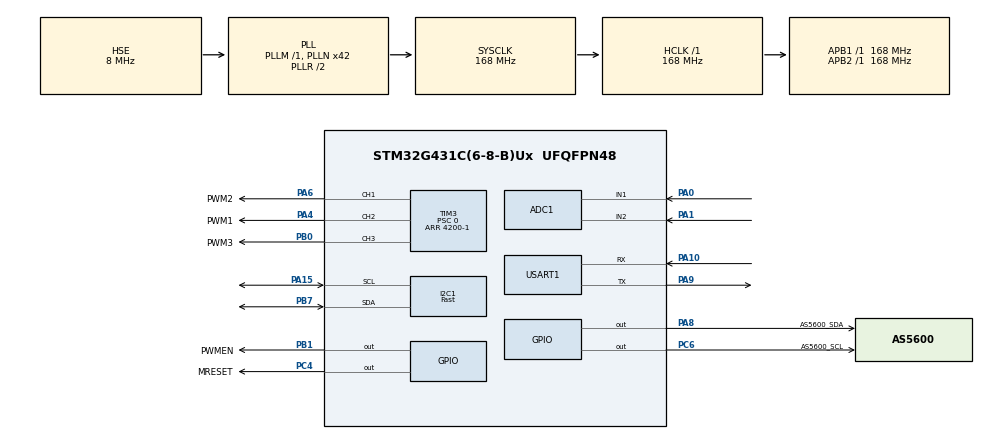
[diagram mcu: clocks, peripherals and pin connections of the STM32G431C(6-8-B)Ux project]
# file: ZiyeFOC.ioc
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ADC1.DMAContinuousRequests=DISABLE
ADC1.EnableInjectedConversion=ENABLE
ADC1.EnableRegularConversion=DISABLE
ADC1.ExternalTrigInjecConv=ADC_EXTERNALTRIGINJEC_T3_TRGO
ADC1.InjNumberOfConversion=2
ADC1.InjectedChannel-2\#ChannelInjectedConversion=ADC_CHANNEL_1
ADC1.InjectedChannel-3\#ChannelInjectedConversion=ADC_CHANNEL_2
ADC1.InjectedOffsetNumber-2\#ChannelInjectedConversion=ADC_OFFSET_NONE
ADC1.InjectedOffsetNumber-3\#ChannelInjectedConversion=ADC_OFFSET_NONE
ADC1.InjectedRank-2\#ChannelInjectedConversion=1
ADC1.InjectedRank-3\#ChannelInjectedConversion=2
ADC1.InjectedSamplingTime-2\#ChannelInjectedConversion=ADC_SAMPLETIME_2CYCLES_5
ADC1.InjectedSamplingTime-3\#ChannelInjectedConversion=ADC_SAMPLETIME_2CYCLES_5
ADC1.Rank1_Channel=ADC_CHANNEL_1
ADC1.Rank2_Channel=ADC_CHANNEL_2
ADC1.master=1
Dma.I2C1_RX.0.Direction=DMA_PERIPH_TO_MEMORY
Dma.I2C1_RX.0.EventEnable=DISABLE
Dma.I2C1_RX.0.Instance=DMA1_Channel1
Dma.I2C1_RX.0.MemDataAlignment=DMA_MDATAALIGN_BYTE
Dma.I2C1_RX.0.MemInc=DMA_MINC_ENABLE
Dma.I2C1_RX.0.Mode=DMA_NORMAL
Dma.I2C1_RX.0.PeriphDataAlignment=DMA_PDATAALIGN_BYTE
Dma.I2C1_RX.0.PeriphInc=DMA_PINC_DISABLE
Dma.I2C1_RX.0.Polarity=HAL_DMAMUX_REQ_GEN_RISING
Dma.I2C1_RX.0.Priority=DMA_PRIORITY_LOW
Dma.I2C1_RX.0.RequestNumber=1
Dma.I2C1_RX.0.SignalID=NONE
Dma.I2C1_RX.0.SyncEnable=DISABLE
Dma.I2C1_RX.0.SyncPolarity=HAL_DMAMUX_SYNC_NO_EVENT
Dma.I2C1_RX.0.SyncRequestNumber=1
Dma.I2C1_RX.0.SyncSignalID=NONE
Dma.Request0=I2C1_RX
Dma.Request1=USART1_RX
Dma.Request2=USART1_TX
Dma.USART1_RX.1.Direction=DMA_PERIPH_TO_MEMORY
Dma.USART1_RX.1.EventEnable=DISABLE
Dma.USART1_RX.1.Instance=DMA1_Channel2
Dma.USART1_RX.1.MemDataAlignment=DMA_MDATAALIGN_BYTE
Dma.USART1_RX.1.MemInc=DMA_MINC_ENABLE
Dma.USART1_RX.1.Mode=DMA_NORMAL
Dma.USART1_RX.1.PeriphDataAlignment=DMA_PDATAALIGN_BYTE
Dma.USART1_RX.1.PeriphInc=DMA_PINC_DISABLE
Dma.USART1_RX.1.Polarity=HAL_DMAMUX_REQ_GEN_RISING
Dma.USART1_RX.1.Priority=DMA_PRIORITY_LOW
Dma.USART1_RX.1.RequestNumber=1
Dma.USART1_RX.1.SignalID=NONE
Dma.USART1_RX.1.SyncEnable=DISABLE
Dma.USART1_RX.1.SyncPolarity=HAL_DMAMUX_SYNC_NO_EVENT
Dma.USART1_RX.1.SyncRequestNumber=1
Dma.USART1_RX.1.SyncSignalID=NONE
Dma.USART1_TX.2.Direction=DMA_MEMORY_TO_PERIPH
Dma.USART1_TX.2.EventEnable=DISABLE
Dma.USART1_TX.2.Instance=DMA1_Channel3
Dma.USART1_TX.2.MemDataAlignment=DMA_MDATAALIGN_BYTE
Dma.USART1_TX.2.MemInc=DMA_MINC_ENABLE
Dma.USART1_TX.2.Mode=DMA_NORMAL
Dma.USART1_TX.2.PeriphDataAlignment=DMA_PDATAALIGN_BYTE
Dma.USART1_TX.2.PeriphInc=DMA_PINC_DISABLE
Dma.USART1_TX.2.Polarity=HAL_DMAMUX_REQ_GEN_RISING
Dma.USART1_TX.2.Priority=DMA_PRIORITY_LOW
Dma.USART1_TX.2.RequestNumber=1
Dma.USART1_TX.2.SignalID=NONE
Dma.USART1_TX.2.SyncEnable=DISABLE
Dma.USART1_TX.2.SyncPolarity=HAL_DMAMUX_SYNC_NO_EVENT
Dma.USART1_TX.2.SyncRequestNumber=1
Dma.USART1_TX.2.SyncSignalID=NONE
I2C1.I2C_Speed_Mode=I2C_Fast
I2C1.Timing=0x20B21E5A
Mcu.Family=STM32G4
Mcu.Name=STM32G431C(6-8-B)Ux
Mcu.Package=UFQFPN48
NVIC.ADC1_2_IRQn=true\:0\:0\:false\:false\:true\:true\:true\:true
NVIC.DMA1_Channel2_IRQn=true\:3\:0\:true\:false\:true\:true\:true\:true
NVIC.DMA1_Channel3_IRQn=true\:3\:0\:true\:false\:true\:true\:true\:true
NVIC.PriorityGroup=NVIC_PRIORITYGROUP_4
NVIC.TIM2_IRQn=true\:3\:0\:true\:false\:true\:true\:true\:true
NVIC.TIM4_IRQn=true\:1\:0\:true\:false\:true\:true\:true\:true
NVIC.USART1_IRQn=true\:3\:0\:true\:false\:true\:true\:true\:true
PA0.Mode=IN1-Single-Ended
PA0.Signal=ADC1_IN1
PA1.Mode=IN2-Single-Ended
PA1.Signal=ADC1_IN2
PA10.Mode=Asynchronous
PA10.Signal=USART1_RX
PA13.Mode=Serial_Wire
PA13.Signal=SYS_JTMS-SWDIO
PA14.Mode=Serial_Wire
PA14.Signal=SYS_JTCK-SWCLK
PA15.GPIO_Pu=GPIO_PULLUP
PA15.GPIO_Speed=GPIO_SPEED_FREQ_VERY_HIGH
PA15.Mode=I2C
PA15.Signal=I2C1_SCL
PA4.GPIO_Label=PWM1
PA4.GPIO_Speed=GPIO_SPEED_FREQ_VERY_HIGH
PA4.Signal=S_TIM3_CH2
PA6.GPIO_Label=PWM2
PA6.GPIO_Speed=GPIO_SPEED_FREQ_VERY_HIGH
PA6.Signal=S_TIM3_CH1
PA8.GPIO_Label=AS5600_SDA
PA8.GPIO_ModeDefaultOutputPP=GPIO_MODE_OUTPUT_OD
PA8.GPIO_PuPd=GPIO_PULLUP
PA8.GPIO_Speed=GPIO_SPEED_FREQ_HIGH
PA8.PinState=GPIO_PIN_SET
PA8.Signal=GPIO_Output
PA9.Mode=Asynchronous
PA9.Signal=USART1_TX
PB0.GPIO_Label=PWM3
PB0.GPIO_Speed=GPIO_SPEED_FREQ_VERY_HIGH
PB0.Signal=S_TIM3_CH3
PB1.GPIO_Label=PWMEN
PB1.GPIO_Speed=GPIO_SPEED_FREQ_HIGH
PB1.PinState=GPIO_PIN_RESET
PB1.Signal=GPIO_Output
PB7.GPIO_Pu=GPIO_PULLUP
PB7.GPIO_Speed=GPIO_SPEED_FREQ_VERY_HIGH
PB7.Mode=I2C
PB7.Signal=I2C1_SDA
PC4.GPIO_Label=MRESET
PC4.GPIO_Speed=GPIO_SPEED_FREQ_HIGH
PC4.Signal=GPIO_Output
PC6.GPIO_Label=AS5600_SCL
PC6.GPIO_ModeDefaultOutputPP=GPIO_MODE_OUTPUT_OD
PC6.GPIO_PuPd=GPIO_PULLUP
PC6.GPIO_Speed=GPIO_SPEED_FREQ_HIGH
PC6.PinState=GPIO_PIN_SET
PC6.Signal=GPIO_Output
PF0-OSC_IN.Mode=HSE-External-Oscillator
PF0-OSC_IN.Signal=RCC_OSC_IN
PF1-OSC_OUT.Mode=HSE-External-Oscillator
PF1-OSC_OUT.Signal=RCC_OSC_OUT
ProjectManager.HeapSize=0x200
ProjectManager.StackSize=0x400
ProjectManager.TargetToolchain=CMake
RCC.ADC12Freq_Value=168000000
RCC.AHBFreq_Value=168000000
RCC.APB1Freq_Value=168000000
RCC.APB1TimFreq_Value=168000000
RCC.APB2Freq_Value=168000000
RCC.APB2TimFreq_Value=168000000
RCC.CortexFreq_Value=168000000
RCC.EXTERNAL_CLOCK_VALUE=12288000
RCC.HCLKFreq_Value=168000000
RCC.HSE_VALUE=8000000
RCC.HSI48_VALUE=48000000
RCC.HSI_VALUE=16000000
RCC.LSE_VALUE=32768
RCC.PLLN=42
RCC.PLLSourceVirtual=RCC_PLLSOURCE_HSE
RCC.SYSCLKFreq_VALUE=168000000
RCC.SYSCLKSource=RCC_SYSCLKSOURCE_PLLCLK
RCC.USBFreq_Value=168000000
RCC.VCOOutputFreq_Value=336000000
SH.S_TIM3_CH1.0=TIM3_CH1,PWM Generation1 CH1
SH.S_TIM3_CH2.0=TIM3_CH2,PWM Generation2 CH2
SH.S_TIM3_CH3.0=TIM3_CH3,PWM Generation3 CH3
STMicroelectronics.X-CUBE-ALGOBUILD.1.4.0.LibraryCcDSPOoLibraryJjDSPOoLibrary=true
TIM2.AutoReloadPreload=TIM_AUTORELOAD_PRELOAD_ENABLE
TIM2.PeriodNoDither=10000-1
TIM2.Prescaler=168-1
TIM2.TIM_MasterOutputTrigger=TIM_TRGO_UPDATE
TIM3.AutoReloadPreload=TIM_AUTORELOAD_PRELOAD_ENABLE
TIM3.Channel-PWM\ Generation1\ CH1=TIM_CHANNEL_1
TIM3.Channel-PWM\ Generation2\ CH2=TIM_CHANNEL_2
TIM3.Channel-PWM\ Generation3\ CH3=TIM_CHANNEL_3
TIM3.Channel-PWM\ Generation4\ No\ Output=TIM_CHANNEL_4
TIM3.CounterMode=TIM_COUNTERMODE_CENTERALIGNED1
TIM3.OCPolarity_1=TIM_OCPOLARITY_HIGH
TIM3.OCPolarity_2=TIM_OCPOLARITY_HIGH
TIM3.OCPolarity_3=TIM_OCPOLARITY_HIGH
TIM3.OCPolarity_4=TIM_OCPOLARITY_LOW
TIM3.PeriodNoDither=4200-1
TIM3.Prescaler=0
TIM3.PulseNoDither_4=4200-2
TIM3.TIM_MasterOutputTrigger=TIM_TRGO_OC4REF
TIM4.AutoReloadPreload=TIM_AUTORELOAD_PRELOAD_ENABLE
TIM4.PeriodNoDither=500-1
TIM4.Prescaler=168-1
TIM6.AutoReloadPreload=TIM_AUTORELOAD_PRELOAD_ENABLE
TIM6.Prescaler=168-1
USART1.VirtualMode-Asynchronous=VM_ASYNC
VP_STMicroelectronics.X-CUBE-ALGOBUILD_VS_DSPOoLibraryJjLibrary_1.4.0_1.4.0.Mode=DSPOoLibraryJjLibrary
VP_SYS_VS_DBSignals.Mode=DisableDeadBatterySignals
VP_TIM2_VS_ClockSourceINT.Mode=Internal
VP_TIM3_VS_ClockSourceINT.Mode=Internal
VP_TIM3_VS_no_output4.Mode=PWM Generation4 No Output
VP_TIM4_VS_ClockSourceINT.Mode=Internal
VP_TIM6_VS_ClockSourceINT.Mode=Enable_Timer
board=custom

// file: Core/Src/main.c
/* USER CODE BEGIN Header */
/**
  ******************************************************************************
  * @file           : main.c
  * @brief          : Main program body
  ******************************************************************************
  * @attention
  *
  * Copyright (c) 2026 STMicroelectronics.
  * All rights reserved.
  *
  * This software is licensed under terms that can be found in the LICENSE file
  * in the root directory of this software component.
  * If no LICENSE file comes with this software, it is provided AS-IS.
  *
  ******************************************************************************
  */
/* USER CODE END Header */
#include "main.h"
#include "adc.h"
#include "dma.h"
#include "i2c.h"
#include "tim.h"
#include "usart.h"
#include "gpio.h"

/* USER CODE BEGIN Includes */

// #include <stdio.h>
#include "MyUART.h"
#include "AS5600.h"
#include "arm_math.h"
#include "FOC.h"
#include <stdint.h>
#include <stdlib.h>

/* USER CODE END Includes */

/* USER CODE BEGIN PD */

// #define FC_HZ      6000.0f
// #define TS_SEC     0.00005f   // 50us
// #define ALPHA      0.653f      // (2.0f * 3.1415926f * FC_HZ * TS_SEC / (1.0f + 2.0f * 3.1415926f * FC_HZ * TS_SEC))
// ALPHA ≈ 0.653

/* USER CODE END PD */

/* USER CODE BEGIN PV */

// float a = 3.14f;

float Uq = 2, Ud = 0;
float U[3] = {0,0,0};   //三相电压值存储

uint16_t ccr[3] = {0,0,0};
// float Angle = 0;

int16_t iabc_raw[3] = {0,0,0};

float ialpha_beta[2] = {0,0};

float idq[2] = {0,0};

float idq_ref[2] = {0.0f,0.0f};

// --标志位--

uint8_t i_curb_flag = 0;    //电流环控制标志位

// 初始化所需值

uint32_t ia_zero = 0;
uint32_t ib_zero = 0;
uint8_t i_count = 0;

// -- 滤波器 --

// int16_t iabc_filt[3] = {0.0f, 0.0f, 0.0f};

// uint8_t filt_init = 0;

// ----- 速度环 -----

#define SPEED_SAMPLE_HZ  2000.0f       // 速度环频率
#define SPEED_DT         (1.0f / SPEED_SAMPLE_HZ)   //时间常数
#define SPEED_LPF_ALPHA  0.2f          // 低通滤波系数，越小越平滑

uint16_t prev_angle = 0;

uint8_t  first_sample = 1;

float speed_filt = 0.0f;

float Motor_speed = 0.0f;   //rad/s

float Motor_speed_ref = 30.0f; //rad/s

// ----- 性能分析 -----

//可用时间
uint16_t ref_now = 0;
uint16_t ref_last = 0;
uint16_t ref_Time = 0;

//总时间
uint16_t all_now = 0;
uint16_t all_Time = 0;

//角度预测时间
uint16_t angle_now = 0;
uint16_t angle_Time = 0;

//SVPWM/SPWM时间
uint16_t SVPWM_now = 0;
uint16_t SVPWM_Time = 0;

//角度获取时间
int32_t get_angle_Time = 0;

//角度读取

uint16_t Motor_raw_angle = 0;

int32_t Motor_angle_Time = 0;//角度获取时TIM6计数值

//串口调试数据接收

// uint8_t UART_Rx_buffer[10];

#define RX_BUF_SIZE  256
uint8_t  rx_buffer[RX_BUF_SIZE];
volatile uint16_t rx_len = 0;
volatile uint8_t  rx_flag = 0;

/* USER CODE END PV */

void SystemClock_Config(void);

/* USER CODE BEGIN 0 */

void HAL_ADCEx_InjectedConvCpltCallback(ADC_HandleTypeDef* hadc) {
    if (hadc->Instance == ADC1) {

        // 电流环时间
        all_now = __HAL_TIM_GET_COUNTER(&htim6);

        ref_now = __HAL_TIM_GET_COUNTER(&htim6);
        ref_Time = ref_now - ref_last;  //可用时间
        ref_last = ref_now;

        if (i_curb_flag == 1) //电流偏置量获取
        {
            ia_zero += HAL_ADCEx_InjectedGetValue(hadc, ADC_INJECTED_RANK_1);
            ib_zero += HAL_ADCEx_InjectedGetValue(hadc, ADC_INJECTED_RANK_2);
            i_count ++;
            if (i_count >= 100)
            {
                ia_zero /= 100;
                ib_zero /= 100;
                i_curb_flag = 2;
            }
        }

        if (i_curb_flag == 2)   // 电流环控制 20kHz
        {
            iabc_raw[0] = HAL_ADCEx_InjectedGetValue(hadc, ADC_INJECTED_RANK_1)-ia_zero;
            iabc_raw[1] = HAL_ADCEx_InjectedGetValue(hadc, ADC_INJECTED_RANK_2)-ib_zero;
            iabc_raw[2] = -iabc_raw[0] - iabc_raw[1];

            // if (!filt_init)
            // {
            //     iabc_filt[0] = iabc_raw[0];
            //     iabc_filt[1] = iabc_raw[1];
            // }
            // else
            // {
            //     iabc_filt[0] = iabc_filt[0] * (1.0f - ALPHA) + ALPHA * iabc_raw[0];
            //     iabc_filt[1] = iabc_filt[1] * (1.0f - ALPHA) + ALPHA * iabc_raw[1];
            //     iabc_filt[2] = -iabc_filt[0] - iabc_filt[1];
            // }

            angle_now = __HAL_TIM_GET_COUNTER(&htim6);

            // Get_Electrical_Angle(); //电角度获取 耗时155us,需优化

            Prev_Electrical_Angle(Motor_raw_angle, Motor_angle_Time, Motor_speed);

            angle_Time = __HAL_TIM_GET_COUNTER(&htim6) - angle_now;

            SVPWM_now = __HAL_TIM_GET_COUNTER(&htim6);

            Get_idiq(iabc_raw, ialpha_beta, idq);   // idq计算

            Current_PI_Control(idq_ref, idq);   //电流PI控制+SVPWM计算

            SVPWM_Time = __HAL_TIM_GET_COUNTER(&htim6) - SVPWM_now;

            all_Time = __HAL_TIM_GET_COUNTER(&htim6) - all_now; //总耗时16us

            // Set_PhaseVoltage(Ud, Uq);
        }
    }
}

void Get_i_zero()
{
    Delay_ms(500);
    Set_PhaseVoltage(0, 0);
    Delay_ms(500);
    i_curb_flag = 1;
}

/* USER CODE END 0 */

int main(void)
{

  /* MCU Configuration--------------------------------------------------------*/

  /* Reset of all peripherals, Initializes the Flash interface and the Systick. */
  HAL_Init();

  /* Configure the system clock */
  SystemClock_Config();

  /* Initialize all configured peripherals */
  MX_GPIO_Init();
  MX_DMA_Init();
  MX_USART1_UART_Init();
  MX_TIM2_Init();
  MX_TIM3_Init();
  MX_ADC1_Init();
  MX_I2C1_Init();
  MX_TIM4_Init();
  MX_TIM6_Init();
  /* USER CODE BEGIN 2 */

    HAL_TIM_Base_Start(&htim6);

    AS5600_Init();

	MyFOC_Init();

	Get_ZeroElAngle();  //获取零角度

    // __HAL_TIM_SET_COMPARE(&htim3, TIM_CHANNEL_2, 0);
    // __HAL_TIM_SET_COMPARE(&htim3, TIM_CHANNEL_1, 0);
    // __HAL_TIM_SET_COMPARE(&htim3, TIM_CHANNEL_3, 0);

    HAL_ADCEx_InjectedStart_IT(&hadc1); // 开启ADC1的注入通道

    Get_i_zero();       //获取电流偏置

    HAL_TIM_Base_Start_IT(&htim2);  // 开启定时器2 用于串口调试
    HAL_TIM_Base_Start_IT(&htim4);  // 开启定时器4 用于速度环计算

    // HAL_UARTEx_ReceiveToIdle_DMA(&huart1, UART_Rx_buffer, sizeof(UART_Rx_buffer));  //开启串口接收

    HAL_UARTEx_ReceiveToIdle_DMA(&huart1, rx_buffer, RX_BUF_SIZE);

	// Uq = 1;
  /* USER CODE END 2 */

  /* Infinite loop */
  /* USER CODE BEGIN WHILE */
  while (1)
  {

    // Motor_speed_ref = 30.0;
    // Delay_ms(2000);
    // Motor_speed_ref = 60.0;
    // Delay_ms(2000);
    // Motor_speed_ref = 80.0;
    // Delay_ms(2000);
    // Motor_speed_ref = 100.0;
    // Delay_ms(2000);

    // printf("%d\r\n",My_AS5600_GetRAWAngleData());
    // Delay_ms(100);

	// Get_PhaseVoltage(U);
	// Angle = Get_Angle();
    // printf("%f,%f,%f,%f\r\n",U[0],U[1],U[2],Angle);

    // Angle = AS5600_GetAngleData() / 4096.0 * 2*PI;
    // printf("%f\r\n",Angle);

    // printf("%d,%d\r\n",AS5600_S.as5600Status,AS5600_S.MagStatus);

    //----ADCtest----

    // HAL_ADC_Start(&hadc1);
    // HAL_ADC_PollForConversion(&hadc1, 100);
    // HAL_ADC_Start_DMA(&hadc1, (uint32_t*)ADC_Value, 2);

    // uint8_t TIM3C4 = HAL_GPIO_ReadPin(GPIOB, GPIO_PIN_7);
    // uint8_t TIM3C3 = 0;
    // if (TIM3C4 == 1)
    // {
    //     TIM3C3 ++;
    // }

    // printf("%d,%d,%d\r\n",iabc_raw[0],iabc_raw[1],iabc_raw[2]);

    // printf("%d,%d\r\n",TIM3C4,TIM3C3);

    // uint32_t ADC_Value = HAL_ADC_GetValue(&hadc1);

    /* USER CODE END WHILE */

  }
}

void SystemClock_Config(void)
{
  RCC_OscInitTypeDef RCC_OscInitStruct = {0};
  RCC_ClkInitTypeDef RCC_ClkInitStruct = {0};

  /** Configure the main internal regulator output voltage
  */
  HAL_PWREx_ControlVoltageScaling(PWR_REGULATOR_VOLTAGE_SCALE1_BOOST);

  /** Initializes the RCC Oscillators according to the specified parameters
  * in the RCC_OscInitTypeDef structure.
  */
  RCC_OscInitStruct.OscillatorType = RCC_OSCILLATORTYPE_HSE;
  RCC_OscInitStruct.HSEState = RCC_HSE_ON;
  RCC_OscInitStruct.PLL.PLLState = RCC_PLL_ON;
  RCC_OscInitStruct.PLL.PLLSource = RCC_PLLSOURCE_HSE;
  RCC_OscInitStruct.PLL.PLLM = RCC_PLLM_DIV1;
  RCC_OscInitStruct.PLL.PLLN = 42;
  RCC_OscInitStruct.PLL.PLLP = RCC_PLLP_DIV2;
  RCC_OscInitStruct.PLL.PLLQ = RCC_PLLQ_DIV2;
  RCC_OscInitStruct.PLL.PLLR = RCC_PLLR_DIV2;
  if (HAL_RCC_OscConfig(&RCC_OscInitStruct) != HAL_OK)
  {
    Error_Handler();
  }

  /** Initializes the CPU, AHB and APB buses clocks
  */
  RCC_ClkInitStruct.ClockType = RCC_CLOCKTYPE_HCLK|RCC_CLOCKTYPE_SYSCLK
                              |RCC_CLOCKTYPE_PCLK1|RCC_CLOCKTYPE_PCLK2;
  RCC_ClkInitStruct.SYSCLKSource = RCC_SYSCLKSOURCE_PLLCLK;
  RCC_ClkInitStruct.AHBCLKDivider = RCC_SYSCLK_DIV1;
  RCC_ClkInitStruct.APB1CLKDivider = RCC_HCLK_DIV1;
  RCC_ClkInitStruct.APB2CLKDivider = RCC_HCLK_DIV1;

  if (HAL_RCC_ClockConfig(&RCC_ClkInitStruct, FLASH_LATENCY_4) != HAL_OK)
  {
    Error_Handler();
  }
}

/* USER CODE BEGIN 4 */

// 计算两个角度之间的有符号差值，范围限制在 [-2048, 2047]
static inline int32_t angle_diff(uint16_t new_angle, uint16_t old_angle)
{
    int32_t diff = (int32_t)new_angle - (int32_t)old_angle;
    if (diff > 2048) {
        diff -= 4096;
    } else if (diff < -2048) {
        diff += 4096;
    }
    return diff;
}

uint16_t prev_Speed_Calc_time = 0;
uint16_t new_Speed_Calc_time = 0;

int32_t dt = 0;

float Speed_Calc(uint16_t new_angle)
{
    if (first_sample) {
        prev_angle = new_angle;
        first_sample = 0;

        prev_Speed_Calc_time = __HAL_TIM_GET_COUNTER(&htim6);

        return 0.0f;
    }

    // 过零处理
    int32_t d_angle = angle_diff(new_angle, prev_angle);
    prev_angle = new_angle;

    new_Speed_Calc_time = __HAL_TIM_GET_COUNTER(&htim6);

    // 差分时间

    // int32_t dt = new_Speed_Calc_time - prev_Speed_Calc_time;
    dt = new_Speed_Calc_time - prev_Speed_Calc_time;
    if (dt < 0) {
        dt += 65535;
    }

    prev_Speed_Calc_time = new_Speed_Calc_time;

    // // 差分速度 (rad/s)  旧方法，利用固定间隔计算速度
    // float speed_raw = ((float)d_angle / 4096.0f) * 2.0f * 3.1415926f / SPEED_DT;

    // 差分速度 (rad/s) 新方法，利用实时计算的间隔计算速度
    float speed_raw = ((float)d_angle / 4096.0f) * 2.0f * 3.1415926f * 1000000 / dt;

    // 一阶低通滤波
    speed_filt = SPEED_LPF_ALPHA * speed_raw + (1.0f - SPEED_LPF_ALPHA) * speed_filt;

    return speed_filt;
}

//串口接收中断回调函数
void HAL_UARTEx_RxEventCallback(UART_HandleTypeDef *huart, uint16_t Size)
{
    if (huart->Instance == USART1) {

        // Motor_speed_ref = (float)UART_Rx_buffer[0];

        rx_len = Size;
        if (rx_len < RX_BUF_SIZE) {
            rx_buffer[rx_len] = '\0';   // 手动补字符串结束符
        }

        char *endptr;

        Motor_speed_ref = strtof((char *)rx_buffer, &endptr);
        // rx_flag = 1;                     // 通知主循环有完整数据

        // HAL_UARTEx_ReceiveToIdle_DMA(&huart1, UART_Rx_buffer, sizeof(UART_Rx_buffer));  //开启串口接收
        HAL_UARTEx_ReceiveToIdle_DMA(&huart1, rx_buffer, RX_BUF_SIZE);
    }
}

uint16_t T2Count1 = 0;
// uint16_t T2Count2 = 0;
uint16_t tx_Time = 1;
// uint8_t speed_flag = 0;

//定时器中断回调函数
void HAL_TIM_PeriodElapsedCallback(TIM_HandleTypeDef *htim)
{
	if (htim->Instance == TIM2)
	{
		T2Count1++;

        //获取电机角度原始值，并记录时间
        // Motor_raw_angle = My_AS5600_GetRAWAngleData();
        // Motor_angle_Time = __HAL_TIM_GET_COUNTER(&htim6);

		if (T2Count1 >= tx_Time)    //串口调式输出
		{
			T2Count1 = 0;
            // T2Count2 ++;
			// Set_PhaseVoltage(Uq, Ud, Get_Electrical_Angle());
            // Get_PhaseVoltage(U);
            // printf("%f,%f,%f\r\n",U[0],U[1],U[2]);

            // printf("%d,%d,%d\r\n",iabc_raw[0],iabc_raw[1],iabc_raw[2]);

            // Get_CCR(ccr);
            // printf("%d,%d,%d,%d,%d,%d,%d,%f\r\n",ccr[0],ccr[1],ccr[2],iabc_raw[0],iabc_raw[1],iabc_raw[2],Motor_raw_angle,Get_elAngle());
            // Get_Angle();
            // printf("%f,%f\r\n",idq[0],idq[1]);
            // Get_Electrical_Angle();
            // printf("%f,%d\r\n",Get_Angle(),Get_Angle_raw());

            printf("%.4f,%.4f,%.4f,%.4f,%.4f\r\n",Motor_speed_ref,Motor_speed,idq_ref[1],idq[0],idq[1]);

            // printf("%d,%d\r\n",Time1,Time2);

            // printf("%f,%f\r\n",ialpha_beta[0],ialpha_beta[1]);

            // printf("%d,%d\r\n",ia_zero,ib_zero);

            // if (T2Count2 >= 500)
            // {
            //     T2Count2 = 0;

            //     if (speed_flag == 0)
            //     {
            //         Motor_speed_ref += 10.0f;

            //         if (Motor_speed_ref > 150.0f)
            //         {
            //             speed_flag = 1;
            //         }
            //     }
            //     if (speed_flag == 1)
            //     {
            //         Motor_speed_ref -= 10.0f;

            //         if (Motor_speed_ref <= -120.0f)
            //         {
            //             speed_flag = 0;
            //         }
            //     }
            // }
		}
	}
    if (htim->Instance == TIM4)
    {
        uint16_t get_angle_last = __HAL_TIM_GET_COUNTER(&htim6);

        Motor_raw_angle = My_AS5600_GetRAWAngleData();

        uint16_t get_angle_now = __HAL_TIM_GET_COUNTER(&htim6);

        get_angle_Time = (int32_t)get_angle_now - (int32_t)get_angle_last;

        if (get_angle_Time < 0)
        {
            get_angle_Time += 65535;
        }

        Motor_angle_Time = (int32_t)__HAL_TIM_GET_COUNTER(&htim6) - get_angle_Time;

        if (Motor_angle_Time < 0)
        {
            Motor_angle_Time += 65535;
        }

        // Motor_angle_Time = __HAL_TIM_GET_COUNTER(&htim6);

        Motor_speed = Speed_Calc(Motor_raw_angle);

        idq_ref[1] = Speed_PI_Control(Motor_speed_ref, Motor_speed);
    }
}

/* USER CODE END 4 */

void Error_Handler(void)
{
  __disable_irq();
  while (1)
  {
  }
}
